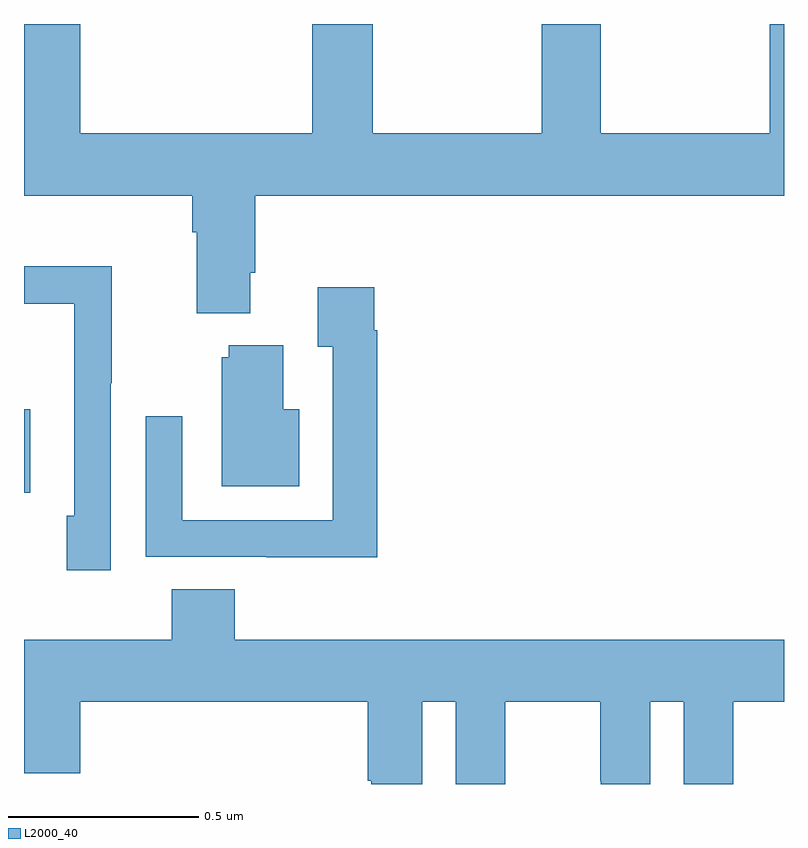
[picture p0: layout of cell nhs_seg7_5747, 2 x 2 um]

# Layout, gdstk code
import gdstk
lib = gdstk.Library(unit=1e-6, precision=1e-09)
def R(c, l, rs):  # rectangles x0, y0, x1, y1
    for r in rs: c.add(gdstk.rectangle(r[:2], r[2:], *l))
def P(c, l, *ps):  # polygons
    for p in ps: c.add(gdstk.Polygon(p, *l))
L2000_40 = (2000, 40)

nhs_seg7_5747 = lib.new_cell('nhs_seg7_5747')
R(nhs_seg7_5747, L2000_40, [(189,1067.767,189.016,1067.986)])
P(nhs_seg7_5747, L2000_40, [(189.595,1068.346),(189.608,1068.346),(189.608,1068.548),(191,1068.548),(191,1069),(190.963,1069),(190.963,1068.712),(190.518,1068.712),(190.518,1069),(190.363,1069),(190.363,1068.712),(189.918,1068.712),(189.918,1069),(189.758,1069),(189.758,1068.712),(189.148,1068.712),(189.148,1069),(189,1069),(189,1068.548),(189.443,1068.548),(189.443,1068.452),(189.455,1068.452),(189.455,1068.239),(189.595,1068.239)],
  [(189.228,1068.055),(189.231,1068.055),(189.231,1068.362),(189,1068.362),(189,1068.264),(189.132,1068.264),(189.132,1067.706),(189.113,1067.706),(189.113,1067.562),(189.228,1067.562)],
  [(189.929,1068.194),(189.922,1068.194),(189.922,1068.307),(189.773,1068.307),(189.773,1068.151),(189.813,1068.151),(189.813,1067.694),(189.417,1067.694),(189.417,1067.968),(189.321,1067.968),(189.321,1067.598),(189.637,1067.598),(189.637,1067.597),(189.929,1067.597)],
  [(189.724,1067.986),(189.682,1067.986),(189.682,1068.154),(189.539,1068.154),(189.539,1068.123),(189.521,1068.123),(189.521,1067.783),(189.724,1067.783)],
  [(190.048,1067.216),(190.136,1067.216),(190.136,1067),(190.266,1067),(190.266,1067.008),(190.267,1067.008),(190.267,1067.216),(190.517,1067.216),(190.517,1067.008),(190.518,1067.008),(190.518,1067),(190.648,1067),(190.648,1067.216),(190.736,1067.216),(190.736,1067),(190.866,1067),(190.866,1067.008),(190.867,1067.008),(190.867,1067.216),(191,1067.216),(191,1067.38),(189.554,1067.38),(189.554,1067.513),(189.389,1067.513),(189.389,1067.38),(189,1067.38),(189,1067.028),(189.148,1067.028),(189.148,1067.216),(189.905,1067.216),(189.905,1067.008),(189.914,1067.008),(189.914,1067),(190.048,1067)])

lib.write_gds('nhs_seg7_5747.gds')
